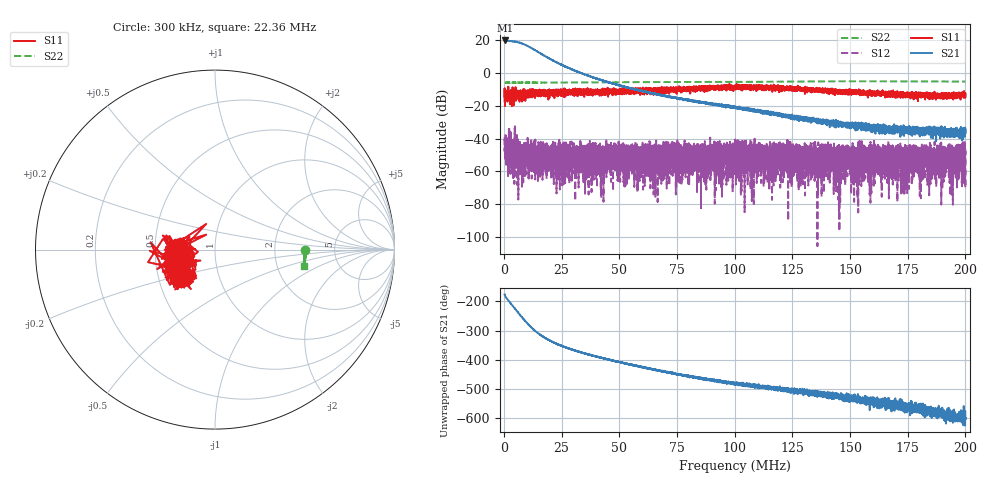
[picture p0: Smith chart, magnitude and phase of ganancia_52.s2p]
# Hz S DB R 50
! CMT, M5065, 19127446, 24.2.4/2
! Date: 11/8/2024 3:29:50 PM
! Data: Format (Calibration Info)
! Freq	S11:dB/Ang(F2)	S21:dB/Ang(F2)	S12:dB/Ang(F2)	S22:dB/Ang(F2)
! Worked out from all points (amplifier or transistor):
!   9000 points, 300 kHz to 200 MHz, reference 50 ohm
!   highest |S21| = 19.6 dB at 388.8 kHz (marker M1)
!   |S21| within 3 dB of that: start of sweep to 9.731 MHz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
!   unconditionally stable (mu >= 1): start of sweep to end of sweep
!   at 33.59 MHz: K = 106.58, MAG = 1.2 dB, |S12| = -49.3 dB
!   at 100.2 MHz: K = 941.28, MAG = -18.8 dB, |S12| = -48.7 dB
!   at 200 MHz: K = 6158.71, MAG = -33.1 dB, |S12| = -50.5 dB
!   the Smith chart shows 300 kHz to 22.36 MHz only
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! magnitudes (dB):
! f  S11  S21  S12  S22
! 300 kHz  -14.5  19.4  -39.4  -6.0
! 388.8 kHz  -17.9  19.6  -40.3  -6.0
! 1.41 MHz  -11.5  19.4  -46.1  -6.0
! 5.16 MHz  -11.0  18.8  -49.1  -6.0
! 7.956 MHz  -13.0  17.7  -63.3  -6.0
! 10.53 MHz  -15.1  16.0  -51.4  -6.0
! 24.6 MHz  -13.1  5.0  -53.7  -6.0
! 33.59 MHz  -12.5  -0.3  -49.3  -5.9
! 42.44 MHz  -11.3  -4.5  -57.2  -5.8
! 48.61 MHz  -10.1  -7.0  -51.3  -5.8
! 66.87 MHz  -10.2  -13.5  -53.7  -5.6
! 88.89 MHz  -8.1  -18.5  -50.4  -5.6
! 93.81 MHz  -9.8  -19.8  -48.6  -5.6
! 95.83 MHz  -9.0  -20.4  -46.2  -5.6
! 100.2 MHz  -8.6  -20.9  -48.7  -5.6
! 133.4 MHz  -10.8  -28.9  -50.3  -5.3
! 166.7 MHz  -12.5  -33.2  -48.6  -5.2
! 171 MHz  -13.0  -34.5  -49.7  -5.2
! 180 MHz  -12.7  -34.1  -51.5  -5.3
! 182 MHz  -14.3  -36.4  -55.3  -5.3
! 189 MHz  -15.3  -34.6  -56.8  -5.3
! 200 MHz  -12.7  -34.8  -50.5  -5.4
